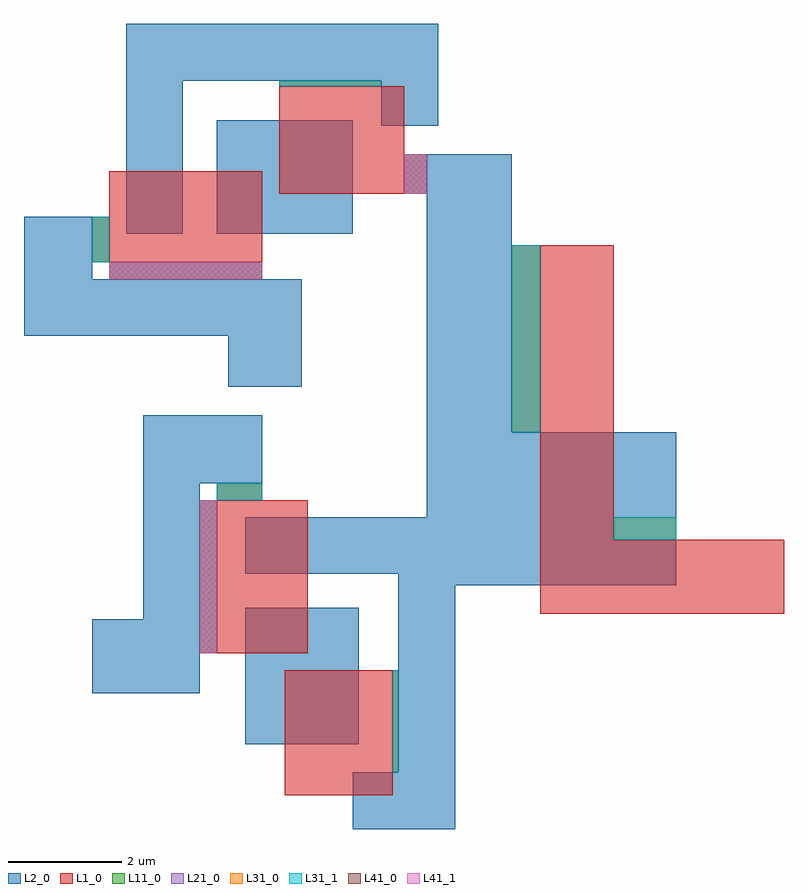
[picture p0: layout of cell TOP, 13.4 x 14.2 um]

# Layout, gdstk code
from math import pi, radians
import gdstk
lib = gdstk.Library(unit=1e-6, precision=1e-09)
def R(c, l, rs):  # rectangles x0, y0, x1, y1
    for r in rs: c.add(gdstk.rectangle(r[:2], r[2:], *l))
def P(c, l, *ps):  # polygons
    for p in ps: c.add(gdstk.Polygon(p, *l))
L1_0 = (1, 0)
L2_0 = (2, 0)
L10_0 = (10, 0)
L11_0 = (11, 0)
L12_0 = (12, 0)
L20_0 = (20, 0)
L21_0 = (21, 0)
L22_0 = (22, 0)
L30_0 = (30, 0)
L30_1 = (30, 1)
L31_0 = (31, 0)
L31_1 = (31, 1)
L32_0 = (32, 0)
L32_1 = (32, 1)
L40_0 = (40, 0)
L40_1 = (40, 1)
L41_0 = (41, 0)
L41_1 = (41, 1)
L42_0 = (42, 0)
L42_1 = (42, 1)

c_a = lib.new_cell('A')
R(c_a, L1_0, [(0.4,0.8,2.6,2.7), (2.9,2.3,5.6,3.9)])
R(c_a, L2_0, [(1.3,1.4,3.7,3.4), (5.9,3.1,7.1,5.2)])
P(c_a, L2_0, [(2.2,4.2),(2.2,6.1),(3.5,6.1),(3.5,5.2),(5.9,5.2),(5.9,4.2)],
  [(-0.2,-0.3),(-0.2,1.5),(0.8,1.5),(0.8,0.7),(4.3,0.7),(4.3,3.4),(5.3,3.4),(5.3,-0.3)])
R(c_a, L11_0, [(0.8,0.7,2.6,0.8), (5.6,3.1,5.9,3.9), (2.9,3.9,5.6,4.2)])
R(c_a, L21_0, [(0.8,0.7,2.6,0.8), (5.6,3.1,5.9,3.9), (2.9,3.9,5.6,4.2)])
R(c_a, L31_0, [(0.8,0.7,2.6,0.8), (5.6,3.1,5.9,3.9)])
R(c_a, L31_1, [(0.8,0.7,2.6,0.8), (5.6,3.1,5.9,3.9)])
R(c_a, L41_0, [(2.9,3.9,5.6,4.2)])
R(c_a, L41_1, [(2.9,3.9,5.6,4.2)])
c_a.add(gdstk.FlexPath([(5.6,3.9),(5.6,3.1)], 0, ends="flush", simple_path=True, layer=10, datatype=0))  # L10_0
c_a.add(gdstk.FlexPath([(5.9,3.1),(5.9,3.9)], 0, ends="flush", simple_path=True, layer=10, datatype=0))  # L10_0
c_a.add(gdstk.FlexPath([(2.9,3.9),(5.6,3.9)], 0, ends="flush", simple_path=True, layer=10, datatype=0))  # L10_0
c_a.add(gdstk.FlexPath([(5.6,4.2),(2.9,4.2)], 0, ends="flush", simple_path=True, layer=10, datatype=0))  # L10_0
c_a.add(gdstk.FlexPath([(2.6,0.8),(0.8,0.8)], 0, ends="flush", simple_path=True, layer=10, datatype=0))  # L10_0
c_a.add(gdstk.FlexPath([(0.8,0.7),(2.6,0.7)], 0, ends="flush", simple_path=True, layer=10, datatype=0))  # L10_0
c_a.add(gdstk.FlexPath([(5.9,3.1),(5.9,3.9)], 0, ends="flush", simple_path=True, layer=12, datatype=0))  # L12_0
c_a.add(gdstk.FlexPath([(2.9,3.9),(5.6,3.9)], 0, ends="flush", simple_path=True, layer=12, datatype=0))  # L12_0
c_a.add(gdstk.FlexPath([(5.6,4.2),(2.9,4.2)], 0, ends="flush", simple_path=True, layer=12, datatype=0))  # L12_0
c_a.add(gdstk.FlexPath([(2.6,0.8),(0.8,0.8)], 0, ends="flush", simple_path=True, layer=12, datatype=0))  # L12_0
c_a.add(gdstk.FlexPath([(5.6,3.9),(5.6,3.1)], 0, ends="flush", simple_path=True, layer=12, datatype=0))  # L12_0
c_a.add(gdstk.FlexPath([(0.8,0.7),(2.6,0.7)], 0, ends="flush", simple_path=True, layer=12, datatype=0))  # L12_0
c_a.add(gdstk.FlexPath([(2.9,3.9),(5.6,3.9)], 0, ends="flush", simple_path=True, layer=20, datatype=0))  # L20_0
c_a.add(gdstk.FlexPath([(5.6,4.2),(2.9,4.2)], 0, ends="flush", simple_path=True, layer=20, datatype=0))  # L20_0
c_a.add(gdstk.FlexPath([(5.6,3.9),(5.6,3.1)], 0, ends="flush", simple_path=True, layer=20, datatype=0))  # L20_0
c_a.add(gdstk.FlexPath([(5.9,3.1),(5.9,3.9)], 0, ends="flush", simple_path=True, layer=20, datatype=0))  # L20_0
c_a.add(gdstk.FlexPath([(2.6,0.8),(0.8,0.8)], 0, ends="flush", simple_path=True, layer=20, datatype=0))  # L20_0
c_a.add(gdstk.FlexPath([(0.8,0.7),(2.6,0.7)], 0, ends="flush", simple_path=True, layer=20, datatype=0))  # L20_0
c_a.add(gdstk.FlexPath([(5.6,4.2),(2.9,4.2)], 0, ends="flush", simple_path=True, layer=22, datatype=0))  # L22_0
c_a.add(gdstk.FlexPath([(2.9,3.9),(5.6,3.9)], 0, ends="flush", simple_path=True, layer=22, datatype=0))  # L22_0
c_a.add(gdstk.FlexPath([(5.6,3.9),(5.6,3.1)], 0, ends="flush", simple_path=True, layer=22, datatype=0))  # L22_0
c_a.add(gdstk.FlexPath([(0.8,0.7),(2.6,0.7)], 0, ends="flush", simple_path=True, layer=22, datatype=0))  # L22_0
c_a.add(gdstk.FlexPath([(5.9,3.1),(5.9,3.9)], 0, ends="flush", simple_path=True, layer=22, datatype=0))  # L22_0
c_a.add(gdstk.FlexPath([(2.6,0.8),(0.8,0.8)], 0, ends="flush", simple_path=True, layer=22, datatype=0))  # L22_0
c_a.add(gdstk.FlexPath([(5.6,3.9),(5.6,3.1)], 0, ends="flush", simple_path=True, layer=30, datatype=0))  # L30_0
c_a.add(gdstk.FlexPath([(5.9,3.1),(5.9,3.9)], 0, ends="flush", simple_path=True, layer=30, datatype=0))  # L30_0
c_a.add(gdstk.FlexPath([(2.6,0.8),(0.8,0.8)], 0, ends="flush", simple_path=True, layer=30, datatype=0))  # L30_0
c_a.add(gdstk.FlexPath([(0.8,0.7),(2.6,0.7)], 0, ends="flush", simple_path=True, layer=30, datatype=0))  # L30_0
c_a.add(gdstk.FlexPath([(5.6,3.9),(5.6,3.1)], 0, ends="flush", simple_path=True, layer=32, datatype=0))  # L32_0
c_a.add(gdstk.FlexPath([(0.8,0.7),(2.6,0.7)], 0, ends="flush", simple_path=True, layer=32, datatype=0))  # L32_0
c_a.add(gdstk.FlexPath([(5.9,3.1),(5.9,3.9)], 0, ends="flush", simple_path=True, layer=32, datatype=0))  # L32_0
c_a.add(gdstk.FlexPath([(2.6,0.8),(0.8,0.8)], 0, ends="flush", simple_path=True, layer=32, datatype=0))  # L32_0
c_a.add(gdstk.FlexPath([(5.6,3.9),(5.6,3.1)], 0, ends="flush", simple_path=True, layer=30, datatype=1))  # L30_1
c_a.add(gdstk.FlexPath([(5.9,3.1),(5.9,3.9)], 0, ends="flush", simple_path=True, layer=30, datatype=1))  # L30_1
c_a.add(gdstk.FlexPath([(2.6,0.8),(0.8,0.8)], 0, ends="flush", simple_path=True, layer=30, datatype=1))  # L30_1
c_a.add(gdstk.FlexPath([(0.8,0.7),(2.6,0.7)], 0, ends="flush", simple_path=True, layer=30, datatype=1))  # L30_1
c_a.add(gdstk.FlexPath([(5.9,3.1),(5.9,3.9)], 0, ends="flush", simple_path=True, layer=32, datatype=1))  # L32_1
c_a.add(gdstk.FlexPath([(5.6,3.9),(5.6,3.1)], 0, ends="flush", simple_path=True, layer=32, datatype=1))  # L32_1
c_a.add(gdstk.FlexPath([(0.8,0.7),(2.6,0.7)], 0, ends="flush", simple_path=True, layer=32, datatype=1))  # L32_1
c_a.add(gdstk.FlexPath([(2.6,0.8),(0.8,0.8)], 0, ends="flush", simple_path=True, layer=32, datatype=1))  # L32_1
c_a.add(gdstk.FlexPath([(2.9,3.9),(5.6,3.9)], 0, ends="flush", simple_path=True, layer=40, datatype=0))  # L40_0
c_a.add(gdstk.FlexPath([(5.6,4.2),(2.9,4.2)], 0, ends="flush", simple_path=True, layer=40, datatype=0))  # L40_0
c_a.add(gdstk.FlexPath([(5.6,4.2),(2.9,4.2)], 0, ends="flush", simple_path=True, layer=42, datatype=0))  # L42_0
c_a.add(gdstk.FlexPath([(2.9,3.9),(5.6,3.9)], 0, ends="flush", simple_path=True, layer=42, datatype=0))  # L42_0
c_a.add(gdstk.FlexPath([(2.9,3.9),(5.6,3.9)], 0, ends="flush", simple_path=True, layer=40, datatype=1))  # L40_1
c_a.add(gdstk.FlexPath([(5.6,4.2),(2.9,4.2)], 0, ends="flush", simple_path=True, layer=40, datatype=1))  # L40_1
c_a.add(gdstk.FlexPath([(5.6,4.2),(2.9,4.2)], 0, ends="flush", simple_path=True, layer=42, datatype=1))  # L42_1
c_a.add(gdstk.FlexPath([(2.9,3.9),(5.6,3.9)], 0, ends="flush", simple_path=True, layer=42, datatype=1))  # L42_1

top = lib.new_cell('TOP')
P(top, L1_0, [(8.4,4.1),(8.4,10.6),(9.7,10.6),(9.7,5.4),(12.7,5.4),(12.7,4.1)])
R(top, L2_0, [(6.6,4.6,10.8,5.8)])
P(top, L2_0, [(6.4,5.8),(6.4,12.2),(7.9,12.2),(7.9,7.3),(10.8,7.3),(10.8,5.8)])
R(top, L11_0, [(7.9,7.3,8.4,10.6), (6,11.5,6.4,12.2)])
R(top, L21_0, [(7.9,7.3,8.4,10.6), (6,11.5,6.4,12.2)])
R(top, L31_0, [(9.7,5.4,10.8,5.8), (7.9,7.3,8.4,10.6)])
R(top, L31_1, [(9.7,5.4,10.8,5.8), (7.9,7.3,8.4,10.6)])
R(top, L41_0, [(6,11.5,6.4,12.2)])
R(top, L41_1, [(6,11.5,6.4,12.2)])
top.add(gdstk.FlexPath([(8.4,7.3),(8.4,10.6)], 0, ends="flush", simple_path=True, layer=10, datatype=0))  # L10_0
top.add(gdstk.FlexPath([(7.9,10.6),(7.9,7.3)], 0, ends="flush", simple_path=True, layer=10, datatype=0))  # L10_0
top.add(gdstk.FlexPath([(6,12.2),(6,11.5)], 0, ends="flush", simple_path=True, layer=10, datatype=0))  # L10_0
top.add(gdstk.FlexPath([(6.4,11.5),(6.4,12.2)], 0, ends="flush", simple_path=True, layer=10, datatype=0))  # L10_0
top.add(gdstk.FlexPath([(8.4,7.3),(8.4,10.6)], 0, ends="flush", simple_path=True, layer=12, datatype=0))  # L12_0
top.add(gdstk.FlexPath([(7.9,10.6),(7.9,7.3)], 0, ends="flush", simple_path=True, layer=12, datatype=0))  # L12_0
top.add(gdstk.FlexPath([(6,12.2),(6,11.5)], 0, ends="flush", simple_path=True, layer=12, datatype=0))  # L12_0
top.add(gdstk.FlexPath([(6.4,11.5),(6.4,12.2)], 0, ends="flush", simple_path=True, layer=12, datatype=0))  # L12_0
top.add(gdstk.FlexPath([(8.4,7.3),(8.4,10.6)], 0, ends="flush", simple_path=True, layer=20, datatype=0))  # L20_0
top.add(gdstk.FlexPath([(7.9,10.6),(7.9,7.3)], 0, ends="flush", simple_path=True, layer=20, datatype=0))  # L20_0
top.add(gdstk.FlexPath([(6,12.2),(6,11.5)], 0, ends="flush", simple_path=True, layer=20, datatype=0))  # L20_0
top.add(gdstk.FlexPath([(6.4,11.5),(6.4,12.2)], 0, ends="flush", simple_path=True, layer=20, datatype=0))  # L20_0
top.add(gdstk.FlexPath([(7.9,10.6),(7.9,7.3)], 0, ends="flush", simple_path=True, layer=22, datatype=0))  # L22_0
top.add(gdstk.FlexPath([(8.4,7.3),(8.4,10.6)], 0, ends="flush", simple_path=True, layer=22, datatype=0))  # L22_0
top.add(gdstk.FlexPath([(6.4,11.5),(6.4,12.2)], 0, ends="flush", simple_path=True, layer=22, datatype=0))  # L22_0
top.add(gdstk.FlexPath([(6,12.2),(6,11.5)], 0, ends="flush", simple_path=True, layer=22, datatype=0))  # L22_0
top.add(gdstk.FlexPath([(8.4,7.3),(8.4,10.6)], 0, ends="flush", simple_path=True, layer=30, datatype=0))  # L30_0
top.add(gdstk.FlexPath([(7.9,10.6),(7.9,7.3)], 0, ends="flush", simple_path=True, layer=30, datatype=0))  # L30_0
top.add(gdstk.FlexPath([(9.7,5.4),(10.8,5.4)], 0, ends="flush", simple_path=True, layer=30, datatype=0))  # L30_0
top.add(gdstk.FlexPath([(10.8,5.8),(9.7,5.8)], 0, ends="flush", simple_path=True, layer=30, datatype=0))  # L30_0
top.add(gdstk.FlexPath([(8.4,7.3),(8.4,10.6)], 0, ends="flush", simple_path=True, layer=32, datatype=0))  # L32_0
top.add(gdstk.FlexPath([(7.9,10.6),(7.9,7.3)], 0, ends="flush", simple_path=True, layer=32, datatype=0))  # L32_0
top.add(gdstk.FlexPath([(10.8,5.8),(9.7,5.8)], 0, ends="flush", simple_path=True, layer=32, datatype=0))  # L32_0
top.add(gdstk.FlexPath([(9.7,5.4),(10.8,5.4)], 0, ends="flush", simple_path=True, layer=32, datatype=0))  # L32_0
top.add(gdstk.FlexPath([(8.4,7.3),(8.4,10.6)], 0, ends="flush", simple_path=True, layer=30, datatype=1))  # L30_1
top.add(gdstk.FlexPath([(7.9,10.6),(7.9,7.3)], 0, ends="flush", simple_path=True, layer=30, datatype=1))  # L30_1
top.add(gdstk.FlexPath([(9.7,5.4),(10.8,5.4)], 0, ends="flush", simple_path=True, layer=30, datatype=1))  # L30_1
top.add(gdstk.FlexPath([(10.8,5.8),(9.7,5.8)], 0, ends="flush", simple_path=True, layer=30, datatype=1))  # L30_1
top.add(gdstk.FlexPath([(7.9,10.6),(7.9,7.3)], 0, ends="flush", simple_path=True, layer=32, datatype=1))  # L32_1
top.add(gdstk.FlexPath([(8.4,7.3),(8.4,10.6)], 0, ends="flush", simple_path=True, layer=32, datatype=1))  # L32_1
top.add(gdstk.FlexPath([(10.8,5.8),(9.7,5.8)], 0, ends="flush", simple_path=True, layer=32, datatype=1))  # L32_1
top.add(gdstk.FlexPath([(9.7,5.4),(10.8,5.4)], 0, ends="flush", simple_path=True, layer=32, datatype=1))  # L32_1
top.add(gdstk.FlexPath([(6,12.2),(6,11.5)], 0, ends="flush", simple_path=True, layer=40, datatype=0))  # L40_0
top.add(gdstk.FlexPath([(6.4,11.5),(6.4,12.2)], 0, ends="flush", simple_path=True, layer=40, datatype=0))  # L40_0
top.add(gdstk.FlexPath([(6.4,11.5),(6.4,12.2)], 0, ends="flush", simple_path=True, layer=42, datatype=0))  # L42_0
top.add(gdstk.FlexPath([(6,12.2),(6,11.5)], 0, ends="flush", simple_path=True, layer=42, datatype=0))  # L42_0
top.add(gdstk.FlexPath([(6,12.2),(6,11.5)], 0, ends="flush", simple_path=True, layer=40, datatype=1))  # L40_1
top.add(gdstk.FlexPath([(6.4,11.5),(6.4,12.2)], 0, ends="flush", simple_path=True, layer=40, datatype=1))  # L40_1
top.add(gdstk.FlexPath([(6.4,11.5),(6.4,12.2)], 0, ends="flush", simple_path=True, layer=42, datatype=1))  # L42_1
top.add(gdstk.FlexPath([(6,12.2),(6,11.5)], 0, ends="flush", simple_path=True, layer=42, datatype=1))  # L42_1
top.add(gdstk.Reference(c_a, (6.6,0.5), rotation=pi/2))
top.add(gdstk.Reference(c_a, (6.4,14.2), rotation=pi))

lib.write_gds('TOP.gds')
